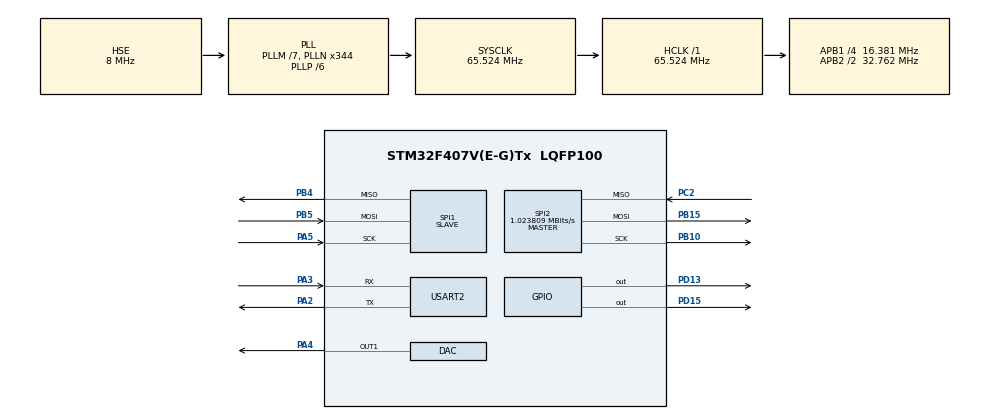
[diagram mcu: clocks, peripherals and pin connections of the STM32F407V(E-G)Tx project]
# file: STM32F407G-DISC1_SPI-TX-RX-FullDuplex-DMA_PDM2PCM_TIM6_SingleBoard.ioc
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DAC.DAC_Trigger=DAC_TRIGGER_T6_TRGO
Dma.DAC1.4.Direction=DMA_MEMORY_TO_PERIPH
Dma.DAC1.4.FIFOMode=DMA_FIFOMODE_DISABLE
Dma.DAC1.4.Instance=DMA1_Stream5
Dma.DAC1.4.MemDataAlignment=DMA_MDATAALIGN_HALFWORD
Dma.DAC1.4.MemInc=DMA_MINC_ENABLE
Dma.DAC1.4.Mode=DMA_NORMAL
Dma.DAC1.4.PeriphDataAlignment=DMA_PDATAALIGN_HALFWORD
Dma.DAC1.4.PeriphInc=DMA_PINC_DISABLE
Dma.DAC1.4.Priority=DMA_PRIORITY_LOW
Dma.Request0=SPI2_RX
Dma.Request1=SPI2_TX
Dma.Request2=SPI1_TX
Dma.Request3=SPI1_RX
Dma.Request4=DAC1
Dma.SPI1_RX.3.Direction=DMA_PERIPH_TO_MEMORY
Dma.SPI1_RX.3.FIFOMode=DMA_FIFOMODE_DISABLE
Dma.SPI1_RX.3.Instance=DMA2_Stream0
Dma.SPI1_RX.3.MemDataAlignment=DMA_MDATAALIGN_BYTE
Dma.SPI1_RX.3.MemInc=DMA_MINC_ENABLE
Dma.SPI1_RX.3.Mode=DMA_CIRCULAR
Dma.SPI1_RX.3.PeriphDataAlignment=DMA_PDATAALIGN_BYTE
Dma.SPI1_RX.3.PeriphInc=DMA_PINC_DISABLE
Dma.SPI1_RX.3.Priority=DMA_PRIORITY_MEDIUM
Dma.SPI1_TX.2.Direction=DMA_MEMORY_TO_PERIPH
Dma.SPI1_TX.2.FIFOMode=DMA_FIFOMODE_DISABLE
Dma.SPI1_TX.2.Instance=DMA2_Stream3
Dma.SPI1_TX.2.MemDataAlignment=DMA_MDATAALIGN_BYTE
Dma.SPI1_TX.2.MemInc=DMA_MINC_ENABLE
Dma.SPI1_TX.2.Mode=DMA_CIRCULAR
Dma.SPI1_TX.2.PeriphDataAlignment=DMA_PDATAALIGN_BYTE
Dma.SPI1_TX.2.PeriphInc=DMA_PINC_DISABLE
Dma.SPI1_TX.2.Priority=DMA_PRIORITY_MEDIUM
Dma.SPI2_RX.0.Direction=DMA_PERIPH_TO_MEMORY
Dma.SPI2_RX.0.FIFOMode=DMA_FIFOMODE_DISABLE
Dma.SPI2_RX.0.Instance=DMA1_Stream3
Dma.SPI2_RX.0.MemDataAlignment=DMA_MDATAALIGN_BYTE
Dma.SPI2_RX.0.MemInc=DMA_MINC_ENABLE
Dma.SPI2_RX.0.Mode=DMA_CIRCULAR
Dma.SPI2_RX.0.PeriphDataAlignment=DMA_PDATAALIGN_BYTE
Dma.SPI2_RX.0.PeriphInc=DMA_PINC_DISABLE
Dma.SPI2_RX.0.Priority=DMA_PRIORITY_MEDIUM
Dma.SPI2_TX.1.Direction=DMA_MEMORY_TO_PERIPH
Dma.SPI2_TX.1.FIFOMode=DMA_FIFOMODE_DISABLE
Dma.SPI2_TX.1.Instance=DMA1_Stream4
Dma.SPI2_TX.1.MemDataAlignment=DMA_MDATAALIGN_BYTE
Dma.SPI2_TX.1.MemInc=DMA_MINC_ENABLE
Dma.SPI2_TX.1.Mode=DMA_CIRCULAR
Dma.SPI2_TX.1.PeriphDataAlignment=DMA_PDATAALIGN_BYTE
Dma.SPI2_TX.1.PeriphInc=DMA_PINC_DISABLE
Dma.SPI2_TX.1.Priority=DMA_PRIORITY_MEDIUM
Mcu.Family=STM32F4
Mcu.Name=STM32F407V(E-G)Tx
Mcu.Package=LQFP100
NVIC.DMA1_Stream3_IRQn=true\:0\:0\:false\:false\:true\:false\:true
NVIC.DMA1_Stream4_IRQn=true\:0\:0\:false\:false\:true\:false\:true
NVIC.DMA1_Stream5_IRQn=true\:0\:0\:false\:false\:true\:false\:true
NVIC.DMA2_Stream0_IRQn=true\:0\:0\:false\:false\:true\:false\:true
NVIC.DMA2_Stream3_IRQn=true\:0\:0\:false\:false\:true\:false\:true
NVIC.PriorityGroup=NVIC_PRIORITYGROUP_0
NVIC.TIM6_DAC_IRQn=true\:0\:0\:false\:false\:true\:true\:true
PA13.Mode=Trace_Asynchronous_SW
PA13.Signal=SYS_JTMS-SWDIO
PA14.Mode=Trace_Asynchronous_SW
PA14.Signal=SYS_JTCK-SWCLK
PA2.Mode=Asynchronous
PA2.Signal=USART2_TX
PA3.Mode=Asynchronous
PA3.Signal=USART2_RX
PA4.Signal=COMP_DAC1_group
PA5.GPIO_Speed=GPIO_SPEED_FREQ_LOW
PA5.Mode=Full_Duplex_Slave
PA5.Signal=SPI1_SCK
PB10.GPIO_Speed=GPIO_SPEED_FREQ_LOW
PB10.Mode=Full_Duplex_Master
PB10.Signal=SPI2_SCK
PB15.GPIO_Speed=GPIO_SPEED_FREQ_LOW
PB15.Mode=Full_Duplex_Master
PB15.Signal=SPI2_MOSI
PB3.Mode=Trace_Asynchronous_SW
PB3.Signal=SYS_JTDO-SWO
PB4.GPIO_Speed=GPIO_SPEED_FREQ_LOW
PB4.Mode=Full_Duplex_Slave
PB4.Signal=SPI1_MISO
PB5.GPIO_Speed=GPIO_SPEED_FREQ_LOW
PB5.Mode=Full_Duplex_Slave
PB5.Signal=SPI1_MOSI
PC2.GPIO_Speed=GPIO_SPEED_FREQ_LOW
PC2.Mode=Full_Duplex_Master
PC2.Signal=SPI2_MISO
PD13.Signal=GPIO_Output
PD15.Signal=GPIO_Output
PDM2PCM.CHANNEL1_in_ptr_channels=1
PDM2PCM.CHANNEL1_out_ptr_channels=1
PDM2PCM.CHANNEL1_output_samples_number=125
PH0-OSC_IN.Mode=HSE-External-Oscillator
PH0-OSC_IN.Signal=RCC_OSC_IN
PH1-OSC_OUT.Mode=HSE-External-Oscillator
PH1-OSC_OUT.Signal=RCC_OSC_OUT
ProjectManager.HeapSize=0x200
ProjectManager.StackSize=0x400
ProjectManager.TargetToolchain=STM32CubeIDE
RCC.48MHZClocksFreq_Value=56163265.30612246
RCC.AHBFreq_Value=65523809.52380953
RCC.APB1CLKDivider=RCC_HCLK_DIV4
RCC.APB1Freq_Value=16380952.380952382
RCC.APB1TimFreq_Value=32761904.761904765
RCC.APB2CLKDivider=RCC_HCLK_DIV2
RCC.APB2Freq_Value=32761904.761904765
RCC.APB2TimFreq_Value=65523809.52380953
RCC.CortexFreq_Value=65523809.52380953
RCC.HCLKFreq_Value=65523809.52380953
RCC.HSE_VALUE=8000000
RCC.HSI_VALUE=16000000
RCC.LSE_VALUE=32768
RCC.PLLM=7
RCC.PLLN=344
RCC.PLLP=RCC_PLLP_DIV6
RCC.PLLQ=7
RCC.PLLSourceVirtual=RCC_PLLSOURCE_HSE
RCC.SYSCLKFreq_VALUE=65523809.52380953
RCC.SYSCLKSource=RCC_SYSCLKSOURCE_PLLCLK
RCC.VCOOutputFreq_Value=393142857.1428572
SH.COMP_DAC1_group.0=DAC_OUT1,DAC_OUT1
SPI1.Direction=SPI_DIRECTION_2LINES
SPI1.Mode=SPI_MODE_SLAVE
SPI1.VirtualType=VM_SLAVE
SPI2.BaudRatePrescaler=SPI_BAUDRATEPRESCALER_16
SPI2.CalculateBaudRate=1.023809 MBits/s
SPI2.Direction=SPI_DIRECTION_2LINES
SPI2.Mode=SPI_MODE_MASTER
SPI2.VirtualType=VM_MASTER
TIM6.AutoReloadPreload=TIM_AUTORELOAD_PRELOAD_ENABLE
TIM6.Period=128-1
TIM6.Prescaler=16-1
TIM6.TIM_MasterOutputTrigger=TIM_TRGO_UPDATE
USART2.VirtualMode=VM_ASYNC
VP_CRC_VS_CRC.Mode=CRC_Activate
VP_PDM2PCM_VS_PDM2PCM.Mode=PDM2PCM_Channel
VP_TIM6_VS_ClockSourceINT.Mode=Enable_Timer
board=STM32F407G-DISC1

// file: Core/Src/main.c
/* USER CODE BEGIN Header */
/**
 ******************************************************************************
 * @file           : main.c
 * @brief          : Main program body
 ******************************************************************************
 * @attention
 *
 * <h2><center>&copy; Copyright (c) 2021 STMicroelectronics.
 * All rights reserved.</center></h2>
 *
 * This software component is licensed by ST under Ultimate Liberty license
 * SLA0044, the "License"; You may not use this file except in compliance with
 * the License. You may obtain a copy of the License at:
 *                             www.st.com/SLA0044
 *
 ******************************************************************************
 */
/* USER CODE END Header */
#include "main.h"
#include "pdm2pcm.h"

/* USER CODE BEGIN Includes */

#include <stdio.h>
#include "pdm_tones.h"

/* USER CODE END Includes */

CRC_HandleTypeDef hcrc;

DAC_HandleTypeDef hdac;
DMA_HandleTypeDef hdma_dac1;

SPI_HandleTypeDef hspi1;
SPI_HandleTypeDef hspi2;
DMA_HandleTypeDef hdma_spi1_tx;
DMA_HandleTypeDef hdma_spi1_rx;
DMA_HandleTypeDef hdma_spi2_rx;
DMA_HandleTypeDef hdma_spi2_tx;

TIM_HandleTypeDef htim6;

UART_HandleTypeDef huart2;

/* USER CODE BEGIN PV */

uint8_t send_data2[30] = "SPI buffer test";
uint8_t receive_data2[1000];
uint8_t PDM_receive_data[2000];

uint8_t send_data1[30] = "SPI buffer test";
uint8_t receive_data1[30];

int16_t PCM_outBuffer[250];

/* USER CODE END PV */

void SystemClock_Config(void);
static void MX_GPIO_Init(void);
static void MX_USART2_UART_Init(void);
static void MX_DMA_Init(void);
static void MX_SPI2_Init(void);
static void MX_SPI1_Init(void);
static void MX_CRC_Init(void);
static void MX_DAC_Init(void);
static void MX_TIM6_Init(void);
/* USER CODE BEGIN PFP */

#define PUTCHAR_PROTOTYPE int __io_putchar(int ch)

/* USER CODE END PFP */

int main(void)
{

  /* MCU Configuration--------------------------------------------------------*/

  /* Reset of all peripherals, Initializes the Flash interface and the Systick. */
  HAL_Init();

  /* Configure the system clock */
  SystemClock_Config();

  /* Initialize all configured peripherals */
  MX_GPIO_Init();
  MX_USART2_UART_Init();
  MX_DMA_Init();
  MX_SPI2_Init();
  MX_SPI1_Init();
  MX_CRC_Init();
  MX_PDM2PCM_Init();
  MX_DAC_Init();
  MX_TIM6_Init();
  /* USER CODE BEGIN 2 */

  printf("Starting >> STM32F407G-DISC1_SPI-TX-RX-FullDuplex-DMA_SingleBoard \n");

  for(uint16_t cntr = 0; cntr < 30; cntr++)
	  send_data2[cntr] = cntr + 10;

  for(uint16_t cntr = 0; cntr < 30; cntr++)
	  send_data1[cntr] = cntr;

  // first bit to MSB - 8bit tone500Hz_pdmdata
  for(uint16_t i = 0; i < sizeof(tone500Hz_pdmdata) * 8; i++)
  {
	  pdmBuffer8_8000bits_2000bytes[i >> 3] = (pdmBuffer8_8000bits_2000bytes[i >> 3] << 1) + tone500Hz_pdmdata[i % sizeof(tone500Hz_pdmdata)];
  }

  for (uint16_t Index = 0; Index < 2000; Index++)
  {
	  PDM_receive_data[Index] = 0;
  }

  printf("pdmBuffer8_8000bits_2000bytes first bit to MSB\n");
  for (uint16_t Index = 0; Index < 2000; Index++)
  {
	  printf("%d %d\n",Index, pdmBuffer8_8000bits_2000bytes[Index]);
  }

  // working ok
//  HAL_SPI_TransmitReceive_DMA(&hspi1, send_data1, receive_data1, 30);
//  HAL_SPI_TransmitReceive_DMA(&hspi2, send_data2, receive_data2, 30);

  HAL_SPI_Transmit_DMA(&hspi1, pdmBuffer8_8000bits_2000bytes, 250); // since it is circular, only the 250 first unique bytes are useful
  HAL_SPI_Receive_DMA(&hspi2, PDM_receive_data, 2000);

  HAL_TIM_Base_Start_IT(&htim6); //Start the timer

  HAL_Delay(100);

  printf("Ending >> STM32F407G-DISC1_SPI-TX-RX-FullDuplex-DMA_SingleBoard \n");

  /* USER CODE END 2 */

  /* Infinite loop */
	while (1)
	{

	}
}

void SystemClock_Config(void)
{
  RCC_OscInitTypeDef RCC_OscInitStruct = {0};
  RCC_ClkInitTypeDef RCC_ClkInitStruct = {0};

  /** Configure the main internal regulator output voltage
  */
  __HAL_RCC_PWR_CLK_ENABLE();
  __HAL_PWR_VOLTAGESCALING_CONFIG(PWR_REGULATOR_VOLTAGE_SCALE1);
  /** Initializes the RCC Oscillators according to the specified parameters
  * in the RCC_OscInitTypeDef structure.
  */
  RCC_OscInitStruct.OscillatorType = RCC_OSCILLATORTYPE_HSE;
  RCC_OscInitStruct.HSEState = RCC_HSE_ON;
  RCC_OscInitStruct.PLL.PLLState = RCC_PLL_ON;
  RCC_OscInitStruct.PLL.PLLSource = RCC_PLLSOURCE_HSE;
  RCC_OscInitStruct.PLL.PLLM = 7;
  RCC_OscInitStruct.PLL.PLLN = 344;
  RCC_OscInitStruct.PLL.PLLP = RCC_PLLP_DIV6;
  RCC_OscInitStruct.PLL.PLLQ = 7;
  if (HAL_RCC_OscConfig(&RCC_OscInitStruct) != HAL_OK)
  {
    Error_Handler();
  }
  /** Initializes the CPU, AHB and APB buses clocks
  */
  RCC_ClkInitStruct.ClockType = RCC_CLOCKTYPE_HCLK|RCC_CLOCKTYPE_SYSCLK
                              |RCC_CLOCKTYPE_PCLK1|RCC_CLOCKTYPE_PCLK2;
  RCC_ClkInitStruct.SYSCLKSource = RCC_SYSCLKSOURCE_PLLCLK;
  RCC_ClkInitStruct.AHBCLKDivider = RCC_SYSCLK_DIV1;
  RCC_ClkInitStruct.APB1CLKDivider = RCC_HCLK_DIV4;
  RCC_ClkInitStruct.APB2CLKDivider = RCC_HCLK_DIV2;

  if (HAL_RCC_ClockConfig(&RCC_ClkInitStruct, FLASH_LATENCY_2) != HAL_OK)
  {
    Error_Handler();
  }
}

static void MX_CRC_Init(void)
{

  hcrc.Instance = CRC;
  if (HAL_CRC_Init(&hcrc) != HAL_OK)
  {
    Error_Handler();
  }
  __HAL_CRC_DR_RESET(&hcrc);

}

static void MX_DAC_Init(void)
{

  DAC_ChannelConfTypeDef sConfig = {0};

  /** DAC Initialization
  */
  hdac.Instance = DAC;
  if (HAL_DAC_Init(&hdac) != HAL_OK)
  {
    Error_Handler();
  }
  /** DAC channel OUT1 config
  */
  sConfig.DAC_Trigger = DAC_TRIGGER_T6_TRGO;
  sConfig.DAC_OutputBuffer = DAC_OUTPUTBUFFER_ENABLE;
  if (HAL_DAC_ConfigChannel(&hdac, &sConfig, DAC_CHANNEL_1) != HAL_OK)
  {
    Error_Handler();
  }

}

static void MX_SPI1_Init(void)
{

  /* SPI1 parameter configuration*/
  hspi1.Instance = SPI1;
  hspi1.Init.Mode = SPI_MODE_SLAVE;
  hspi1.Init.Direction = SPI_DIRECTION_2LINES;
  hspi1.Init.DataSize = SPI_DATASIZE_8BIT;
  hspi1.Init.CLKPolarity = SPI_POLARITY_LOW;
  hspi1.Init.CLKPhase = SPI_PHASE_1EDGE;
  hspi1.Init.NSS = SPI_NSS_SOFT;
  hspi1.Init.FirstBit = SPI_FIRSTBIT_MSB;
  hspi1.Init.TIMode = SPI_TIMODE_DISABLE;
  hspi1.Init.CRCCalculation = SPI_CRCCALCULATION_DISABLE;
  hspi1.Init.CRCPolynomial = 10;
  if (HAL_SPI_Init(&hspi1) != HAL_OK)
  {
    Error_Handler();
  }

}

static void MX_SPI2_Init(void)
{

  /* SPI2 parameter configuration*/
  hspi2.Instance = SPI2;
  hspi2.Init.Mode = SPI_MODE_MASTER;
  hspi2.Init.Direction = SPI_DIRECTION_2LINES;
  hspi2.Init.DataSize = SPI_DATASIZE_8BIT;
  hspi2.Init.CLKPolarity = SPI_POLARITY_LOW;
  hspi2.Init.CLKPhase = SPI_PHASE_1EDGE;
  hspi2.Init.NSS = SPI_NSS_SOFT;
  hspi2.Init.BaudRatePrescaler = SPI_BAUDRATEPRESCALER_16;
  hspi2.Init.FirstBit = SPI_FIRSTBIT_MSB;
  hspi2.Init.TIMode = SPI_TIMODE_DISABLE;
  hspi2.Init.CRCCalculation = SPI_CRCCALCULATION_DISABLE;
  hspi2.Init.CRCPolynomial = 10;
  if (HAL_SPI_Init(&hspi2) != HAL_OK)
  {
    Error_Handler();
  }

}

static void MX_TIM6_Init(void)
{

  TIM_MasterConfigTypeDef sMasterConfig = {0};

  htim6.Instance = TIM6;
  htim6.Init.Prescaler = 16-1;
  htim6.Init.CounterMode = TIM_COUNTERMODE_UP;
  htim6.Init.Period = 128-1;
  htim6.Init.AutoReloadPreload = TIM_AUTORELOAD_PRELOAD_ENABLE;
  if (HAL_TIM_Base_Init(&htim6) != HAL_OK)
  {
    Error_Handler();
  }
  sMasterConfig.MasterOutputTrigger = TIM_TRGO_UPDATE;
  sMasterConfig.MasterSlaveMode = TIM_MASTERSLAVEMODE_DISABLE;
  if (HAL_TIMEx_MasterConfigSynchronization(&htim6, &sMasterConfig) != HAL_OK)
  {
    Error_Handler();
  }

}

static void MX_USART2_UART_Init(void)
{

  huart2.Instance = USART2;
  huart2.Init.BaudRate = 115200;
  huart2.Init.WordLength = UART_WORDLENGTH_8B;
  huart2.Init.StopBits = UART_STOPBITS_1;
  huart2.Init.Parity = UART_PARITY_NONE;
  huart2.Init.Mode = UART_MODE_TX_RX;
  huart2.Init.HwFlowCtl = UART_HWCONTROL_NONE;
  huart2.Init.OverSampling = UART_OVERSAMPLING_16;
  if (HAL_UART_Init(&huart2) != HAL_OK)
  {
    Error_Handler();
  }

}

static void MX_DMA_Init(void)
{

  /* DMA controller clock enable */
  __HAL_RCC_DMA1_CLK_ENABLE();
  __HAL_RCC_DMA2_CLK_ENABLE();

  /* DMA interrupt init */
  /* DMA1_Stream3_IRQn interrupt configuration */
  HAL_NVIC_SetPriority(DMA1_Stream3_IRQn, 0, 0);
  HAL_NVIC_EnableIRQ(DMA1_Stream3_IRQn);
  /* DMA1_Stream4_IRQn interrupt configuration */
  HAL_NVIC_SetPriority(DMA1_Stream4_IRQn, 0, 0);
  HAL_NVIC_EnableIRQ(DMA1_Stream4_IRQn);
  /* DMA1_Stream5_IRQn interrupt configuration */
  HAL_NVIC_SetPriority(DMA1_Stream5_IRQn, 0, 0);
  HAL_NVIC_EnableIRQ(DMA1_Stream5_IRQn);
  /* DMA2_Stream0_IRQn interrupt configuration */
  HAL_NVIC_SetPriority(DMA2_Stream0_IRQn, 0, 0);
  HAL_NVIC_EnableIRQ(DMA2_Stream0_IRQn);
  /* DMA2_Stream3_IRQn interrupt configuration */
  HAL_NVIC_SetPriority(DMA2_Stream3_IRQn, 0, 0);
  HAL_NVIC_EnableIRQ(DMA2_Stream3_IRQn);

}

static void MX_GPIO_Init(void)
{
  GPIO_InitTypeDef GPIO_InitStruct = {0};

  /* GPIO Ports Clock Enable */
  __HAL_RCC_GPIOH_CLK_ENABLE();
  __HAL_RCC_GPIOC_CLK_ENABLE();
  __HAL_RCC_GPIOA_CLK_ENABLE();
  __HAL_RCC_GPIOB_CLK_ENABLE();
  __HAL_RCC_GPIOD_CLK_ENABLE();

  /*Configure GPIO pin Output Level */
  HAL_GPIO_WritePin(GPIOD, GPIO_PIN_13|GPIO_PIN_15, GPIO_PIN_RESET);

  /*Configure GPIO pins : PD13 PD15 */
  GPIO_InitStruct.Pin = GPIO_PIN_13|GPIO_PIN_15;
  GPIO_InitStruct.Mode = GPIO_MODE_OUTPUT_PP;
  GPIO_InitStruct.Pull = GPIO_NOPULL;
  GPIO_InitStruct.Speed = GPIO_SPEED_FREQ_LOW;
  HAL_GPIO_Init(GPIOD, &GPIO_InitStruct);

}

/* USER CODE BEGIN 4 */

PUTCHAR_PROTOTYPE
{
	/* Place your implementation of fputc here */
	/* e.g. write a character to the LPUART1 and Loop until the end of transmission */
	HAL_UART_Transmit(&huart2, (uint8_t *)&ch, 1, 0xFFFF);

	return ch;
}

void HAL_SPI_RxCpltCallback(SPI_HandleTypeDef *hspi)
{
	UNUSED(hspi);

//	HAL_GPIO_TogglePin(GPIOD, GPIO_PIN_15);
	GPIOD->BSRR = (1<<15); // Set
//	PDM_Filter(&pdmBuffer8_8000bits_2000bytes[2000],&PCM_outBuffer[125], &PDM1_filter_handler);
//	GPIOD->BSRR = (1<<(15+16)); // ReSet

//	printf("HAL_SPI_RxCpltCallback \n");
}

void HAL_SPI_RxHalfCpltCallback(SPI_HandleTypeDef *hspi)
{
	UNUSED(hspi);

//	HAL_GPIO_TogglePin(GPIOD, GPIO_PIN_15);
//	GPIOD->BSRR = (1<<15); // Set
//	PDM_Filter(&pdmBuffer8_8000bits_2000bytes[1000],&PCM_outBuffer[0], &PDM1_filter_handler);
	GPIOD->BSRR = (1<<(15+16)); // ReSet
}

//void HAL_SPI_TxCpltCallback(SPI_HandleTypeDef *hspi)
//{
//	UNUSED(hspi);
//
//	printf("HAL_SPI_TxCpltCallback \n");
//}
//
//void HAL_SPI_TxHalfCpltCallback(SPI_HandleTypeDef *hspi)
//{
//	UNUSED(hspi);
//
//	printf("HAL_SPI_TxHalfCpltCallback \n");
//}
//
//void HAL_SPI_TxRxCpltCallback(SPI_HandleTypeDef *hspi)
//{
//	UNUSED(hspi);
//
//	printf("HAL_SPI_TxRxCpltCallback \n");
//}
//
//void HAL_SPI_TxRxHalfCpltCallback(SPI_HandleTypeDef *hspi)
//{
//	UNUSED(hspi);
//
//	printf("HAL_SPI_TxRxHalfCpltCallback \n");
//}

void HAL_SPI_ErrorCallback(SPI_HandleTypeDef *hspi)
{
	UNUSED(hspi);

	printf("HAL_SPI_ErrorCallback : Error code %d \n", hspi->ErrorCode);

}

/* USER CODE END 4 */

void Error_Handler(void)
{
  /* USER CODE BEGIN Error_Handler_Debug */
	/* User can add his own implementation to report the HAL error return state */
	printf("Error_Handler \n");
	__disable_irq();
	while (1)
	{
	}
  /* USER CODE END Error_Handler_Debug */
}

/************************ (C) COPYRIGHT STMicroelectronics *****END OF FILE****/
